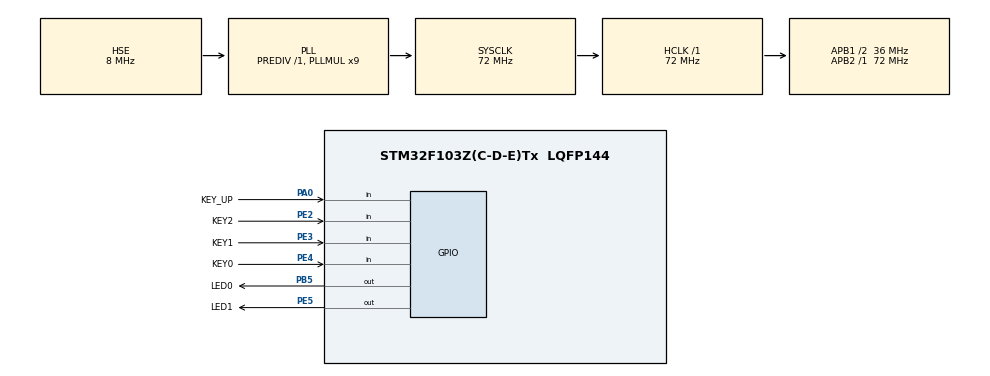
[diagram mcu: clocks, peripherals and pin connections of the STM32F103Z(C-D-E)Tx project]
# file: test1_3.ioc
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Mcu.Family=STM32F1
Mcu.Name=STM32F103Z(C-D-E)Tx
Mcu.Package=LQFP144
NVIC.PriorityGroup=NVIC_PRIORITYGROUP_4
OSC_IN.Mode=HSE-External-Oscillator
OSC_IN.Signal=RCC_OSC_IN
OSC_OUT.Mode=HSE-External-Oscillator
OSC_OUT.Signal=RCC_OSC_OUT
PA0-WKUP.GPIO_Label=KEY_UP
PA0-WKUP.GPIO_PuPd=GPIO_PULLDOWN
PA0-WKUP.Signal=GPIO_Input
PA13.Mode=Serial_Wire
PA13.Signal=SYS_JTMS-SWDIO
PA14.Mode=Serial_Wire
PA14.Signal=SYS_JTCK-SWCLK
PB5.GPIO_Label=LED0
PB5.GPIO_ModeDefaultOutputPP=GPIO_MODE_OUTPUT_PP
PB5.GPIO_PuPd=GPIO_PULLUP
PB5.GPIO_Speed=GPIO_SPEED_FREQ_HIGH
PB5.PinState=GPIO_PIN_SET
PB5.Signal=GPIO_Output
PE2.GPIO_Label=KEY2
PE2.GPIO_Mode=GPIO_MODE_INPUT
PE2.GPIO_PuPd=GPIO_PULLUP
PE2.Signal=GPIO_Input
PE3.GPIO_Label=KEY1
PE3.GPIO_Mode=GPIO_MODE_INPUT
PE3.GPIO_PuPd=GPIO_PULLUP
PE3.Signal=GPIO_Input
PE4.GPIO_Label=KEY0
PE4.GPIO_Mode=GPIO_MODE_INPUT
PE4.GPIO_PuPd=GPIO_PULLUP
PE4.Signal=GPIO_Input
PE5.GPIO_Label=LED1
PE5.GPIO_ModeDefaultOutputPP=GPIO_MODE_OUTPUT_PP
PE5.GPIO_PuPd=GPIO_PULLUP
PE5.GPIO_Speed=GPIO_SPEED_FREQ_HIGH
PE5.PinState=GPIO_PIN_SET
PE5.Signal=GPIO_Output
ProjectManager.HeapSize=0x200
ProjectManager.StackSize=0x400
ProjectManager.TargetToolchain=MDK-ARM V5.32
RCC.AHBFreq_Value=72000000
RCC.APB1CLKDivider=RCC_HCLK_DIV2
RCC.APB1Freq_Value=36000000
RCC.APB1TimFreq_Value=72000000
RCC.APB2Freq_Value=72000000
RCC.APB2TimFreq_Value=72000000
RCC.HCLKFreq_Value=72000000
RCC.PLLMUL=RCC_PLL_MUL9
RCC.PLLSourceVirtual=RCC_PLLSOURCE_HSE
RCC.SYSCLKFreq_VALUE=72000000
RCC.SYSCLKSource=RCC_SYSCLKSOURCE_PLLCLK
RCC.USBFreq_Value=72000000
board=custom

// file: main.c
/* USER CODE BEGIN Header */
/**
  ******************************************************************************
  * @file           : main.c
  * @brief          : Main program body
  ******************************************************************************
  * @attention
  *
  * Copyright (c) 2023 STMicroelectronics.
  * All rights reserved.
  *
  * This software is licensed under terms that can be found in the LICENSE file
  * in the root directory of this software component.
  * If no LICENSE file comes with this software, it is provided AS-IS.
  *
  ******************************************************************************
  */
/* USER CODE END Header */
#include "main.h"
#include "gpio.h"

/* USER CODE BEGIN PD */
#define KEY0 HAL_GPIO_ReadPin(GPIOE,GPIO_PIN_4)
#define KEY1 HAL_GPIO_ReadPin(GPIOE,GPIO_PIN_3)
#define KEY2 HAL_GPIO_ReadPin(GPIOE,GPIO_PIN_2)
#define WK_UP HAL_GPIO_ReadPin(GPIOA,GPIO_PIN_0)
#define KEY0_PRES 1
#define KEY1_PRES 2
#define KEY2_PRES 3
#define WKUP_PRES 4
/* USER CODE END PD */

void SystemClock_Config(void);
/* USER CODE BEGIN PFP */
uint8_t KEY_Scan(uint8_t mode)
{
  static uint8_t key_up=1;
  if(mode==1)key_up=1;
  if(key_up&&(KEY0==0||KEY1==0||KEY2==0||WK_UP==1))
  {
    HAL_Delay(10);
    key_up=0;
    if(KEY0==0) return KEY0_PRES;
    else if(KEY1==0) return KEY1_PRES;
    else if(KEY2==0) return KEY2_PRES;
    else if(WK_UP==1) return WKUP_PRES;
  }else if(KEY0==1&&KEY1==1&&KEY2==1&&WK_UP==0)key_up=1;
  return 0;
}
/* USER CODE END PFP */

int main(void)
{

  /* MCU Configuration--------------------------------------------------------*/

  /* Reset of all peripherals, Initializes the Flash interface and the Systick. */
  HAL_Init();

  /* Configure the system clock */
  SystemClock_Config();

  /* Initialize all configured peripherals */
  MX_GPIO_Init();
  /* USER CODE BEGIN 2 */
  uint8_t key;
  /* USER CODE END 2 */

  /* Infinite loop */
  while (1)
  {

    /* USER CODE BEGIN 3 */
    key=KEY_Scan(0);
    switch(key)
    {
      case WKUP_PRES:
      HAL_GPIO_WritePin(GPIOB,GPIO_PIN_5,GPIO_PIN_RESET); //LED0
      HAL_GPIO_WritePin(GPIOE,GPIO_PIN_5,GPIO_PIN_RESET); //LED0
      break;
      case KEY2_PRES:
      HAL_GPIO_TogglePin(GPIOB,GPIO_PIN_5);
      break;
      case KEY1_PRES:
      HAL_GPIO_TogglePin(GPIOE,GPIO_PIN_5);
      break;
      case KEY0_PRES:
      HAL_GPIO_TogglePin(GPIOB,GPIO_PIN_5);
      HAL_GPIO_TogglePin(GPIOE,GPIO_PIN_5);
      break;
    }
    HAL_Delay(10); // 10ms

    // HAL_GPIO_WritePin(GPIOB,GPIO_PIN_8,GPIO_PIN_SET); //BEEP
    // HAL_GPIO_TogglePin(GPIOB,GPIO_PIN_5);
    // HAL_GPIO_TogglePin(GPIOE,GPIO_PIN_5);
    // HAL_Delay(500); // 500ms
    // HAL_GPIO_WritePin(GPIOB,GPIO_PIN_8,GPIO_PIN_RESET); //BEEP
    // HAL_GPIO_TogglePin(GPIOB,GPIO_PIN_5);
    // HAL_GPIO_TogglePin(GPIOE,GPIO_PIN_5);
    // HAL_Delay(500); // 500ms
  }
  /* USER CODE END 3 */
}

void SystemClock_Config(void)
{
  RCC_OscInitTypeDef RCC_OscInitStruct = {0};
  RCC_ClkInitTypeDef RCC_ClkInitStruct = {0};

  /** Initializes the RCC Oscillators according to the specified parameters
  * in the RCC_OscInitTypeDef structure.
  */
  RCC_OscInitStruct.OscillatorType = RCC_OSCILLATORTYPE_HSE;
  RCC_OscInitStruct.HSEState = RCC_HSE_ON;
  RCC_OscInitStruct.HSEPredivValue = RCC_HSE_PREDIV_DIV1;
  RCC_OscInitStruct.HSIState = RCC_HSI_ON;
  RCC_OscInitStruct.PLL.PLLState = RCC_PLL_ON;
  RCC_OscInitStruct.PLL.PLLSource = RCC_PLLSOURCE_HSE;
  RCC_OscInitStruct.PLL.PLLMUL = RCC_PLL_MUL9;
  if (HAL_RCC_OscConfig(&RCC_OscInitStruct) != HAL_OK)
  {
    Error_Handler();
  }

  /** Initializes the CPU, AHB and APB buses clocks
  */
  RCC_ClkInitStruct.ClockType = RCC_CLOCKTYPE_HCLK|RCC_CLOCKTYPE_SYSCLK
                              |RCC_CLOCKTYPE_PCLK1|RCC_CLOCKTYPE_PCLK2;
  RCC_ClkInitStruct.SYSCLKSource = RCC_SYSCLKSOURCE_PLLCLK;
  RCC_ClkInitStruct.AHBCLKDivider = RCC_SYSCLK_DIV1;
  RCC_ClkInitStruct.APB1CLKDivider = RCC_HCLK_DIV2;
  RCC_ClkInitStruct.APB2CLKDivider = RCC_HCLK_DIV1;

  if (HAL_RCC_ClockConfig(&RCC_ClkInitStruct, FLASH_LATENCY_2) != HAL_OK)
  {
    Error_Handler();
  }
}

void Error_Handler(void)
{
  __disable_irq();
  while (1)
  {
  }
}
